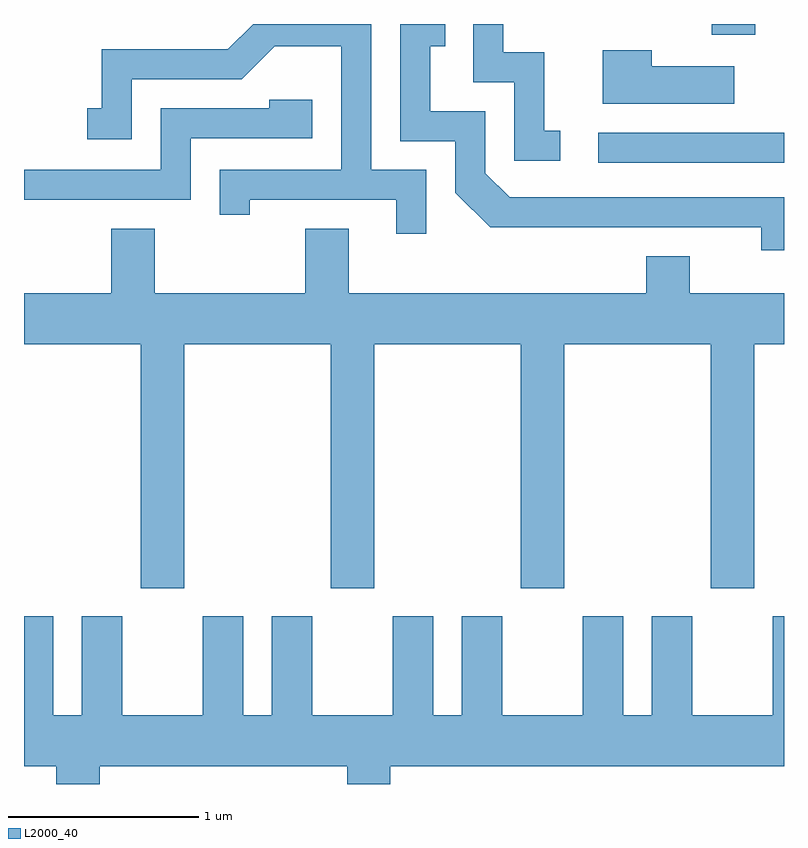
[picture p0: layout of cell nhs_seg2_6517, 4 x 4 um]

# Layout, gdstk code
import gdstk
lib = gdstk.Library(unit=1e-6, precision=1e-09)
def R(c, l, rs):  # rectangles x0, y0, x1, y1
    for r in rs: c.add(gdstk.rectangle(r[:2], r[2:], *l))
def P(c, l, *ps):  # polygons
    for p in ps: c.add(gdstk.Polygon(p, *l))
L2000_40 = (2000, 40)

nhs_seg2_6517 = lib.new_cell('nhs_seg2_6517')
R(nhs_seg2_6517, L2000_40, [(380.633,1027.071,381.611,1027.229), (381.231,1027.746,381.459,1027.802)])
P(nhs_seg2_6517, L2000_40, [(379.729,1027.034),(379.439,1027.034),(379.439,1027.802),(378.817,1027.802),(378.684,1027.669),(378.021,1027.669),(378.021,1027.359),(377.943,1027.359),(377.943,1027.196),(378.179,1027.196),(378.179,1027.511),(378.757,1027.511),(378.932,1027.686),(379.281,1027.686),(379.281,1027.034),(378.641,1027.034),(378.641,1026.798),(378.799,1026.798),(378.799,1026.876),(379.571,1026.876),(379.571,1026.698),(379.729,1026.698)],
  [(380.433,1027.239),(380.349,1027.239),(380.349,1027.654),(380.134,1027.654),(380.134,1027.802),(379.976,1027.802),(379.976,1027.496),(380.191,1027.496),(380.191,1027.081),(380.433,1027.081)],
  [(381.611,1026.889),(380.167,1026.889),(380.039,1027.017),(380.039,1027.344),(379.749,1027.344),(379.749,1027.686),(379.828,1027.686),(379.828,1027.802),(379.591,1027.802),(379.591,1027.186),(379.881,1027.186),(379.881,1026.914),(380.064,1026.731),(381.491,1026.731),(381.491,1026.611),(381.611,1026.611)],
  [(381.349,1027.579),(380.914,1027.579),(380.914,1027.664),(380.656,1027.664),(380.656,1027.381),(381.349,1027.381)],
  [(378.489,1027.201),(379.129,1027.201),(379.129,1027.404),(378.901,1027.404),(378.901,1027.359),(378.331,1027.359),(378.331,1027.034),(377.611,1027.034),(377.611,1026.876),(378.489,1026.876)],
  [(378.454,1026.116),(379.226,1026.116),(379.226,1024.831),(379.454,1024.831),(379.454,1026.116),(380.226,1026.116),(380.226,1024.831),(380.454,1024.831),(380.454,1026.116),(381.226,1026.116),(381.226,1024.831),(381.454,1024.831),(381.454,1026.116),(381.611,1026.116),(381.611,1026.384),(381.114,1026.384),(381.114,1026.579),(380.886,1026.579),(380.886,1026.384),(379.319,1026.384),(379.319,1026.724),(379.091,1026.724),(379.091,1026.384),(378.299,1026.384),(378.299,1026.724),(378.071,1026.724),(378.071,1026.384),(377.611,1026.384),(377.611,1026.116),(378.226,1026.116),(378.226,1024.831),(378.454,1024.831)],
  [(378.009,1023.896),(379.311,1023.896),(379.311,1023.802),(379.539,1023.802),(379.539,1023.896),(381.611,1023.896),(381.611,1024.684),(381.551,1024.684),(381.551,1024.164),(381.129,1024.164),(381.129,1024.684),(380.916,1024.684),(380.916,1024.164),(380.764,1024.164),(380.764,1024.684),(380.551,1024.684),(380.551,1024.164),(380.129,1024.164),(380.129,1024.684),(379.916,1024.684),(379.916,1024.164),(379.764,1024.164),(379.764,1024.684),(379.551,1024.684),(379.551,1024.164),(379.129,1024.164),(379.129,1024.684),(378.916,1024.684),(378.916,1024.164),(378.764,1024.164),(378.764,1024.684),(378.551,1024.684),(378.551,1024.164),(378.129,1024.164),(378.129,1024.684),(377.916,1024.684),(377.916,1024.164),(377.764,1024.164),(377.764,1024.684),(377.611,1024.684),(377.611,1023.896),(377.781,1023.896),(377.781,1023.802),(378.009,1023.802)])

lib.write_gds('nhs_seg2_6517.gds')
